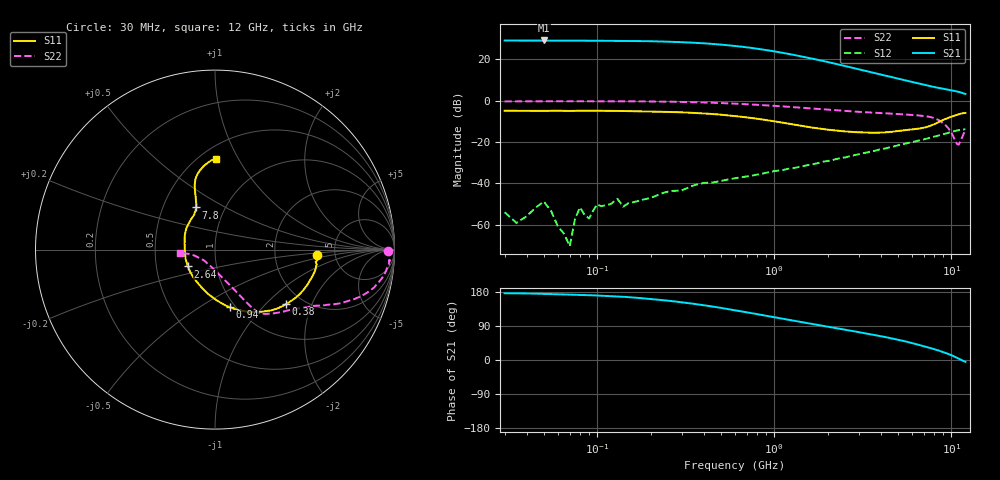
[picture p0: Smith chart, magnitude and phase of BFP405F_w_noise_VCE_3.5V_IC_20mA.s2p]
! Infineon Technologies  Discrete & RF Semiconductors
! BFP405F
! VCE =  3.5 V,  IC =  20 mA
! Common Emitter S-Parameters:  Nov 2015
# GHz  S  MA  R  50
!  f  S11  S21  S12  S22
! GHz  MAG  ANG  MAG  ANG  MAG  ANG  MAG  ANG
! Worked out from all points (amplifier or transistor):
!   239 points, 30 MHz to 12 GHz, reference 50 ohm
!   highest |S21| = 29.2 dB at 50 MHz (marker M1)
!   |S21| within 3 dB of that: start of sweep to 651 MHz
!   unconditionally stable (mu >= 1): 65.68 MHz to 70.99 MHz; 1.724 GHz to end of sweep
!   at 300 MHz: K = 0.32, MSG = 35.9 dB, |S12| = -43.5 dB
!   at 1.88 GHz: K = 1.03, MAG = 23.3 dB, |S12| = -29.6 dB
!   at 12 GHz: K = 1.37, MAG = 4.9 dB, |S12| = -13.7 dB
!   lowest NFmin = 2.24 dB at 450 MHz
!   S11 on the Smith chart (normalised r, x): 30 MHz: 3.63, -0.32; 380 MHz: 1.63, -1.32; 940 MHz: 0.94, -0.68; 2.64 GHz: 0.73, -0.14; 7.8 GHz: 0.73, +0.37; 12 GHz: 0.60, +0.81
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0.03  0.5706 -3.0  28.69 176.2  0.002 -117.8  0.963 -0.4
0.035  0.5708 -3.3  28.69 175.9  0.0011 -162.3  0.9661 -0.4
0.05  0.5672 -5.1  28.84 174.4  0.0036 148.7  0.9776 -0.9
0.07  0.5647 -6.8  28.54 172.4  0.0003 96.5  0.9732 -1.6
0.08  0.5731 -8.4  28.39 171.6  0.0026 138.1  0.9766 -2.3
0.085  0.5718 -8.9  28.43 171.3  0.0017 114.7  0.9758 -2.5
0.15  0.5609 -16.1  28.09 165.9  0.0033 89.5  0.9685 -5.2
0.24  0.5407 -25.0  27.04 157.5  0.006 83.2  0.9518 -8.7
0.3  0.5244 -30.6  26.24 152.3  0.0067 79.9  0.9351 -10.7
0.38  0.4978 -37.7  24.92 146.0  0.0097 78.9  0.9147 -12.9
0.46  0.4733 -44.5  23.59 140.2  0.0107 75.4  0.8907 -15.0
0.6  0.4249 -55.0  21.22 131.3  0.0133 74.8  0.85 -18.0
0.7  0.3944 -61.5  19.69 125.9  0.0147 73.4  0.8224 -19.6
0.94  0.3311 -75.7  16.4 115.1  0.0187 72.9  0.7656 -22.8
1.3  0.2625 -94.0  12.79 103.1  0.0236 70.8  0.6984 -26.1
1.64  0.2236 -109.4  10.45 95.1  0.0289 72.1  0.6508 -28.7
2.1  0.1949 -128.8  8.285 86.2  0.0358 71.3  0.6002 -32.5
2.64  0.1779 -148.1  6.581 78.2  0.0449 69.9  0.558 -36.2
4.5  0.1757 165.3  3.802 58.1  0.0749 64.2  0.4907 -46.2
7.8  0.2575 114.2  2.198 30.1  0.1311 50.6  0.3925 -57.2
10.8  0.4584 99.3  1.67 5.3  0.1905 32.8  0.0886 -117.0
12  0.5057 89.6  1.459 -4.8  0.2057 25.8  0.197 -174.8
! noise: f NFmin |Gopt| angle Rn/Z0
0.45  2.24  0.02  -18  0.47
0.9  2.25  0.01  -90  0.3
1.5  2.31  0.03  -114  0.38
1.9  2.38  0.04  -120  0.52
2.4  2.53  0.05  -120  0.18
3  2.62  0.07  -120  0.16
3.5  2.7  0.09  -118  0.22
4.5  2.94  0.14  -105  0.5
5.5  3.27  0.24  -88  0.52
